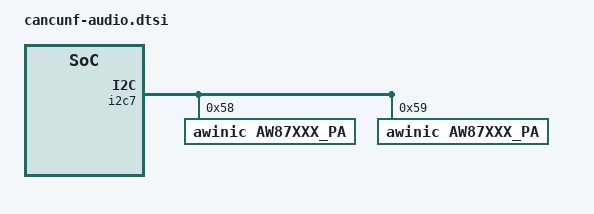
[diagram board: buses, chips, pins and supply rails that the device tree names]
/*
 * Copyright (c) 2021 MediaTek Inc.
 *
 * This program is free software; you can redistribute it and/or modify
 * it under the terms of the GNU General Public License version 2 as
 * published by the Free Software Foundation.
 *
 * This program is distributed in the hope that it will be useful,
 * but WITHOUT ANY WARRANTY; without even the implied warranty of
 * MERCHANTABILITY or FITNESS FOR A PARTICULAR PURPOSE.  See the
 * GNU General Public License for more details.
 */

&i2c6 {
	spk: speaker_amp@5c {
		compatible = "richtek,rt5512";
		#sound-dai-cells = <0>;
		reg = <0x5c>;
		sound-name-prefix = "Left";
		status ="disable";
	};
};

&i2c7 {
	aw87xxx_pa@58 {
		compatible = "awinic,aw87xxx_pa";
		reg = <0x58>;

		dev_index = < 0 >;
		status = "okay";
	};

	aw87xxx_pa@59 {
		compatible = "awinic,aw87xxx_pa";
		reg = <0x59>;

		dev_index = < 1 >;
		status = "okay";
	};
};

&pio {
	aud_pins_hacamp_high: aud_pins_hacamp_high {
		pins_cmd_dat {
			pinmux = <PINMUX_GPIO158__FUNC_GPIO158>;
			slew-rate = <1>;
			output-high;
		};
	};
	aud_pins_hacamp_low: aud_pins_hacamp_low {
		pins_cmd_dat {
			pinmux = <PINMUX_GPIO158__FUNC_GPIO158>;
			slew-rate = <1>;
			output-low;
		};
	};
};

&afe {
	pinctrl-names = "aud_clk_mosi_off",
			"aud_clk_mosi_on",
			"aud_dat_mosi_off",
			"aud_dat_mosi_on",
			"aud_dat_miso0_off",
			"aud_dat_miso0_on",
			"aud_dat_miso1_off",
			"aud_dat_miso1_on",
			"aud_dat_miso2_off",
			"aud_dat_miso2_on",
			"vow_dat_miso_off",
			"vow_dat_miso_on",
			"vow_clk_miso_off",
			"vow_clk_miso_on",
			"aud_gpio_i2s0_off",
			"aud_gpio_i2s0_on",
			"aud_gpio_i2s3_off",
			"aud_gpio_i2s3_on",
			"hacamp_pullhigh",
			"hacamp_pulllow";
	pinctrl-0 = <&aud_clk_mosi_off>;
	pinctrl-1 = <&aud_clk_mosi_on>;
	pinctrl-2 = <&aud_dat_mosi_off>;
	pinctrl-3 = <&aud_dat_mosi_on>;
	pinctrl-4 = <&aud_dat_miso0_off>;
	pinctrl-5 = <&aud_dat_miso0_on>;
	pinctrl-6 = <&aud_dat_miso1_off>;
	pinctrl-7 = <&aud_dat_miso1_on>;
	pinctrl-8 = <&aud_dat_miso2_off>;
	pinctrl-9 = <&aud_dat_miso2_on>;
	pinctrl-10 = <&vow_dat_miso_off>;
	pinctrl-11 = <&vow_dat_miso_on>;
	pinctrl-12 = <&vow_clk_miso_off>;
	pinctrl-13 = <&vow_clk_miso_on>;
	pinctrl-14 = <&aud_gpio_i2s0_off>;
	pinctrl-15 = <&aud_gpio_i2s0_on>;
	pinctrl-16 = <&aud_gpio_i2s3_off>;
	pinctrl-17 = <&aud_gpio_i2s3_on>;
	pinctrl-18 = <&aud_pins_hacamp_high>;
	pinctrl-19 = <&aud_pins_hacamp_low>;
};
